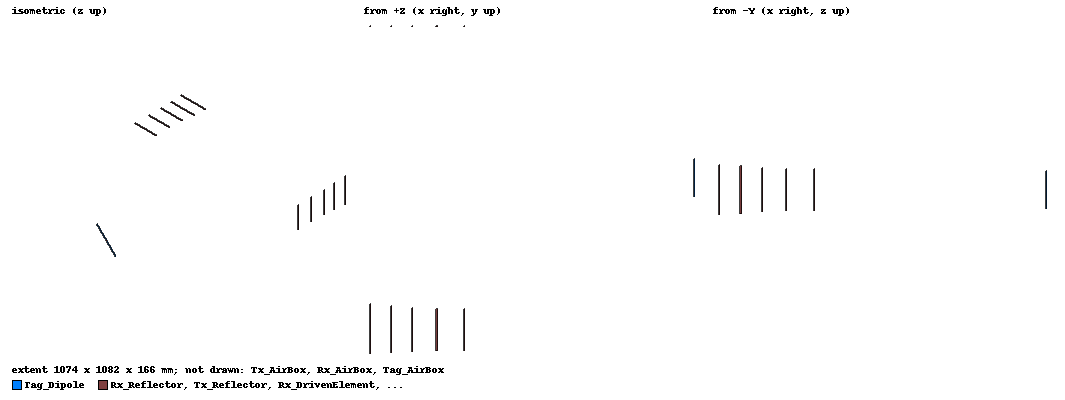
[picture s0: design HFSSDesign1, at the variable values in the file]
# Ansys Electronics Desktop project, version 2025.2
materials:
  vacuum: permittivity=1
  copper: permeability=0.999991 conductivity=58000000

design HFSSDesign1 (HFSS, HFSS Terminal Network, model units mm)
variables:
  Ldp = 60mm
  Rw = 1mm
  Lp = 2mm
  Ldir = 57mm
  Lref = 63mm
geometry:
  Tx_DrivenElement [copper] = cylinder(axis=Z, base_centre=(0, 0, -77.5mm), radius=2mm, height=155mm)
  Cylinder1 = cylinder(axis=Z, base_centre=(0, 0, -1mm), radius=2.5mm, height=2mm)
  Tx_DrivenElement.subtract(Cylinder1)
  Tx_PortSheet = rectangle(corner=(-2mm, 0mm, -1mm), z_size=2mm, x_size=4mm)
  Tx_Director1 [copper] = cylinder(axis=Z, base_centre=(70mm, 0mm, -72.5mm), radius=2mm, height=145mm)
  Tx_Director2 [copper] = cylinder(axis=Z, base_centre=(150mm, 0, -70mm), radius=2mm, height=140mm)
  Tx_Director3 [copper] = cylinder(axis=Z, base_centre=(240mm, 0, -69mm), radius=2mm, height=138mm)
  Tx_Reflector [copper] = cylinder(axis=Z, base_centre=(-70mm, 0mm, -83mm), radius=2mm, height=166mm)
  Rx_DrivenElement [copper] = cylinder(axis=Y, base_centre=(0, -1077.5mm, 0), radius=2mm, height=155mm)
  Cylinder2 = cylinder(axis=Y, base_centre=(0, -1001mm, 0), radius=2.5mm, height=2mm)
  Rx_DrivenElement.subtract(Cylinder2)
  Rx_PortSheet = rectangle(corner=(-2mm, -1001mm, 0mm), x_size=4mm, y_size=2mm)
  Rx_Director1 [copper] = cylinder(axis=Y, base_centre=(70mm, -1072.5mm, 0mm), radius=2mm, height=145mm)
  Rx_Director2 [copper] = cylinder(axis=Y, base_centre=(150mm, -1070mm, 0), radius=2mm, height=140mm)
  Rx_Director3 [copper] = cylinder(axis=Y, base_centre=(240mm, -1069mm, 0), radius=2mm, height=138mm)
  Rx_Reflector [copper] = cylinder(axis=Y, base_centre=(-70mm, -1080mm, 0mm), radius=2mm, height=166mm)
  Tag_Dipole [copper] = cylinder(axis=Z, base_centre=(0mm, 0mm, -86.5mm), radius=2mm, height=173mm)
  Cylinder3 = cylinder(axis=Z, base_centre=(0mm, 0mm, -1mm), radius=2.5mm, height=2mm)
  Tag_Dipole.subtract(Cylinder3)
  Tag_Portsheet = rectangle(corner=(-2mm, 0mm, -1mm), z_size=2mm, x_size=4mm)
  [Tag_Dipole, Tag_Portsheet].rotate(axis=X, angle=45deg)
  [Tag_Dipole, Tag_Portsheet].move(1000mm, -500mm, 0mm)
  Tx_AirBox [vacuum] = box(corner=(-160mm, -90mm, -170mm), size=(490mm, 180mm, 340mm))
  Rx_AirBox [vacuum] = box(corner=(-160mm, -1170mm, -90mm), size=(490mm, 345mm, 180mm))
  Tag_AirBox [vacuum] = box(corner=(910mm, -650mm, -150mm), size=(180mm, 300mm, 300mm))
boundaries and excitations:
  FEBI_Boundary: FE-BI Objects=[Rx_AirBox, Tx_AirBox, Tag_AirBox] UseAdaptiveIE
  1: Lumped Port Objects=Tx_PortSheet LumpedPortType=Modal Modes{Mode1{IntLine{(0, 0, -1) -> (0, 0, 1)} CharImp=Zpi RenormImp=50ohm}} Impedance=50ohm
  2: Lumped Port Objects=Rx_PortSheet LumpedPortType=Modal Modes{Mode1{IntLine{(0, -1001, 0) -> (0, -999, 0)} CharImp=Zpi RenormImp=50ohm}} Impedance=50ohm
  3: Lumped Port Objects=Tag_Portsheet LumpedPortType=Modal Modes{Mode1{IntLine{(1000, -499.29289, -0.70710678) -> (1000, -500.70711, 0.70710678)} CharImp=Zpi RenormImp=50ohm}} Impedance=50ohm
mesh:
  initial mesh: GlobalSurfApproximation{CurvedSurfaceApproxChoice=UseSlider SliderMeshSettings=2}
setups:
  Setup1: HfssDriven Frequency=866.3MHz MaxDeltaS=0.04 MaximumPasses=10 MinimumPasses=1 MinimumConvergedPasses=1 PercentRefinement=30 BasisOrder=1 PortAccuracy=2 DrivenSolverType="Domain Decomposition" IterativeResidual=1e-06 DDMSolverResidual=0.0001
    sweep Sweep: 840MHz to 900MHz, 61 points; Type=Interpolating SaveFields InterpTolerance=0.5 InterpMaxSolns=250 PassivityErrorTolerance=0.0001
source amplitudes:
  1:1: 1V 0deg
  2:1, 3:1: 0V 0deg
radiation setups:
  3D_Sphere: Infinite Sphere Theta=0deg..180deg step 2deg Phi=-180deg..180deg step 2deg
  Elevation: Infinite Sphere Theta=0deg..90deg step 90deg Phi=-180deg..180deg step 1deg
  Azimuth: Infinite Sphere Theta=-180deg..180deg step 1deg Phi=90deg..90deg step 0deg
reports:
  S Parameter Plot1: dB(S(1,1)), dB(S(2,1)), dB(S(3,1)) vs Freq on Setup1 : Sweep; dB(S(3,2)) vs Freq; markers S11_Tx Return Loss at 866.3MHz, S31_Tx to Tag Link at 866.3MHz, S32_Rx to Tag Link at 866.3MHz, S21_TxRx Isolation at 866.3MHz
  Gain Plot1: dB(GainTotal) vs Phi, Theta on Setup1 : LastAdaptive, 3D_Sphere [Freq=0.8663GHz]
  Gain Plot2: dB(GainTotal) vs Phi on Setup1 : LastAdaptive, 3D_Sphere [Theta=90deg Freq=0.8663GHz]; markers m1 at 0deg, m2 at 30deg, m3 at -30deg, m4 at -180deg
  Gain Plot3: dB(GainTotal) vs Theta on Setup1 : LastAdaptive, 3D_Sphere [Phi=0deg Freq=0.8663GHz]
  S Parameter Plot2: dB(S(3,2)) vs Freq on Setup1 : Sweep
